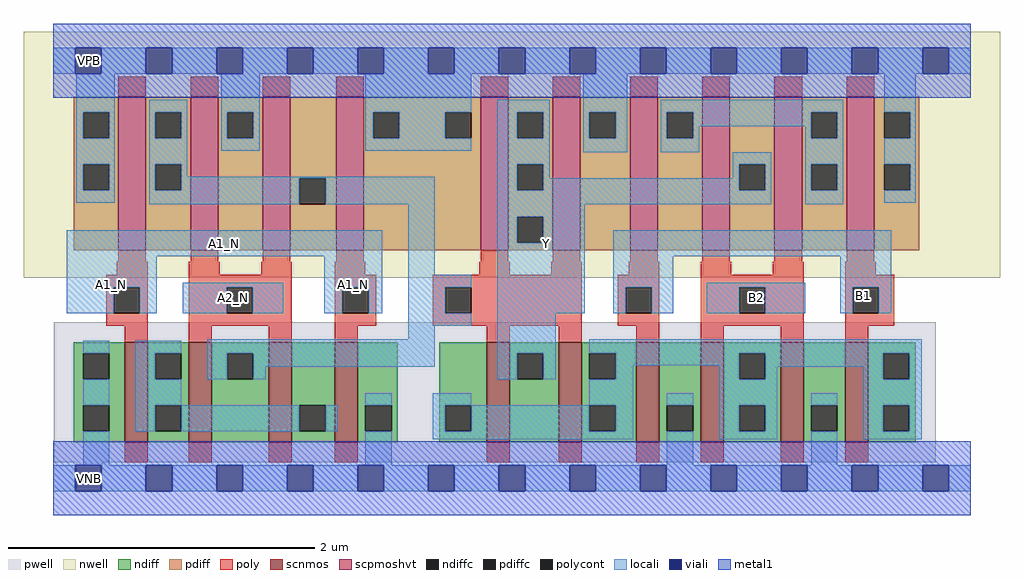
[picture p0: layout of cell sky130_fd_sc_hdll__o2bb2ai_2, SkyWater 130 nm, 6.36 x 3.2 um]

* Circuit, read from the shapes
.subckt sky130_fd_sc_hdll__o2bb2ai_2 A1_N A2_N B1 B2 VGND VNB VPB VPWR Y
XM1 n1 A1_N VGND VNB sky130_fd_pr__nfet_01v8 w=0.65 l=0.15 m=2
XM2 n2 A2_N n1 VNB sky130_fd_pr__nfet_01v8 w=0.65 l=0.15 m=2
XM3 Y n2 n3 VNB sky130_fd_pr__nfet_01v8 w=0.65 l=0.15 m=2
XM4 VGND B1 n3 VNB sky130_fd_pr__nfet_01v8 w=0.65 l=0.15 m=2
XM5 n3 B2 VGND VNB sky130_fd_pr__nfet_01v8 w=0.65 l=0.15 m=2
XM6 n2 A1_N VPWR VPB sky130_fd_pr__pfet_01v8_hvt w=1 l=0.18 m=2
XM7 VPWR A2_N n2 VPB sky130_fd_pr__pfet_01v8_hvt w=1 l=0.18 m=2
XM8 Y n2 VPWR VPB sky130_fd_pr__pfet_01v8_hvt w=1 l=0.18 m=2
XM9 n4 B1 VPWR VPB sky130_fd_pr__pfet_01v8_hvt w=1 l=0.18 m=2
XM10 Y B2 n4 VPB sky130_fd_pr__pfet_01v8_hvt w=1 l=0.18 m=2
.ends

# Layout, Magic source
magic
tech sky130A
magscale 1 2
<< nwell >>
rect -38 261 1234 582
<< pwell >>
rect 1 21 1150 203
rect 30 -17 64 21
<< scnmos >>
rect 93 47 123 177
rect 177 47 207 177
rect 281 47 311 177
rect 367 47 397 177
rect 565 47 595 177
rect 659 47 689 177
rect 760 47 790 177
rect 844 47 874 177
rect 948 47 978 177
rect 1032 47 1062 177
<< scpmoshvt >>
rect 85 297 121 497
rect 179 297 215 497
rect 273 297 309 497
rect 369 297 405 497
rect 557 297 593 497
rect 651 297 687 497
rect 752 297 788 497
rect 846 297 882 497
rect 940 297 976 497
rect 1034 297 1070 497
<< ndiff >>
rect 27 163 93 177
rect 27 129 39 163
rect 73 129 93 163
rect 27 95 93 129
rect 27 61 39 95
rect 73 61 93 95
rect 27 47 93 61
rect 123 163 177 177
rect 123 129 133 163
rect 167 129 177 163
rect 123 95 177 129
rect 123 61 133 95
rect 167 61 177 95
rect 123 47 177 61
rect 207 163 281 177
rect 207 129 227 163
rect 261 129 281 163
rect 207 47 281 129
rect 311 95 367 177
rect 311 61 321 95
rect 355 61 367 95
rect 311 47 367 61
rect 397 95 449 177
rect 397 61 407 95
rect 441 61 449 95
rect 397 47 449 61
rect 503 95 565 177
rect 503 61 511 95
rect 545 61 565 95
rect 503 47 565 61
rect 595 163 659 177
rect 595 129 605 163
rect 639 129 659 163
rect 595 47 659 129
rect 689 163 760 177
rect 689 129 699 163
rect 733 129 760 163
rect 689 95 760 129
rect 689 61 699 95
rect 733 61 760 95
rect 689 47 760 61
rect 790 95 844 177
rect 790 61 800 95
rect 834 61 844 95
rect 790 47 844 61
rect 874 163 948 177
rect 874 129 894 163
rect 928 129 948 163
rect 874 95 948 129
rect 874 61 894 95
rect 928 61 948 95
rect 874 47 948 61
rect 978 95 1032 177
rect 978 61 988 95
rect 1022 61 1032 95
rect 978 47 1032 61
rect 1062 163 1124 177
rect 1062 129 1082 163
rect 1116 129 1124 163
rect 1062 95 1124 129
rect 1062 61 1082 95
rect 1116 61 1124 95
rect 1062 47 1124 61
<< pdiff >>
rect 27 477 85 497
rect 27 443 39 477
rect 73 443 85 477
rect 27 409 85 443
rect 27 375 39 409
rect 73 375 85 409
rect 27 297 85 375
rect 121 477 179 497
rect 121 443 133 477
rect 167 443 179 477
rect 121 409 179 443
rect 121 375 133 409
rect 167 375 179 409
rect 121 297 179 375
rect 215 477 273 497
rect 215 443 227 477
rect 261 443 273 477
rect 215 297 273 443
rect 309 391 369 497
rect 309 357 321 391
rect 355 357 369 391
rect 309 297 369 357
rect 405 477 557 497
rect 405 443 417 477
rect 451 443 511 477
rect 545 443 557 477
rect 405 297 557 443
rect 593 477 651 497
rect 593 443 605 477
rect 639 443 651 477
rect 593 409 651 443
rect 593 375 605 409
rect 639 375 651 409
rect 593 341 651 375
rect 593 307 605 341
rect 639 307 651 341
rect 593 297 651 307
rect 687 477 752 497
rect 687 443 699 477
rect 733 443 752 477
rect 687 297 752 443
rect 788 477 846 497
rect 788 443 800 477
rect 834 443 846 477
rect 788 297 846 443
rect 882 409 940 497
rect 882 375 894 409
rect 928 375 940 409
rect 882 297 940 375
rect 976 477 1034 497
rect 976 443 988 477
rect 1022 443 1034 477
rect 976 409 1034 443
rect 976 375 988 409
rect 1022 375 1034 409
rect 976 297 1034 375
rect 1070 477 1129 497
rect 1070 443 1083 477
rect 1117 443 1129 477
rect 1070 409 1129 443
rect 1070 375 1083 409
rect 1117 375 1129 409
rect 1070 297 1129 375
<< ndiffc >>
rect 39 129 73 163
rect 39 61 73 95
rect 133 129 167 163
rect 133 61 167 95
rect 227 129 261 163
rect 321 61 355 95
rect 407 61 441 95
rect 511 61 545 95
rect 605 129 639 163
rect 699 129 733 163
rect 699 61 733 95
rect 800 61 834 95
rect 894 129 928 163
rect 894 61 928 95
rect 988 61 1022 95
rect 1082 129 1116 163
rect 1082 61 1116 95
<< pdiffc >>
rect 39 443 73 477
rect 39 375 73 409
rect 133 443 167 477
rect 133 375 167 409
rect 227 443 261 477
rect 321 357 355 391
rect 417 443 451 477
rect 511 443 545 477
rect 605 443 639 477
rect 605 375 639 409
rect 605 307 639 341
rect 699 443 733 477
rect 800 443 834 477
rect 894 375 928 409
rect 988 443 1022 477
rect 988 375 1022 409
rect 1083 443 1117 477
rect 1083 375 1117 409
<< poly >>
rect 85 497 121 523
rect 179 497 215 523
rect 273 497 309 523
rect 369 497 405 523
rect 557 497 593 523
rect 651 497 687 523
rect 752 497 788 523
rect 846 497 882 523
rect 940 497 976 523
rect 1034 497 1070 523
rect 85 282 121 297
rect 179 282 215 297
rect 273 282 309 297
rect 369 282 405 297
rect 557 282 593 297
rect 651 282 687 297
rect 752 282 788 297
rect 846 282 882 297
rect 940 282 976 297
rect 1034 282 1070 297
rect 83 265 123 282
rect 69 249 123 265
rect 69 215 79 249
rect 113 215 123 249
rect 69 199 123 215
rect 93 177 123 199
rect 177 265 217 282
rect 271 265 311 282
rect 177 249 311 265
rect 177 215 226 249
rect 260 215 311 249
rect 177 199 311 215
rect 177 177 207 199
rect 281 177 311 199
rect 367 265 407 282
rect 555 265 595 282
rect 649 265 689 282
rect 750 265 790 282
rect 367 249 421 265
rect 367 215 377 249
rect 411 215 421 249
rect 367 199 421 215
rect 495 249 689 265
rect 495 215 511 249
rect 545 215 689 249
rect 495 199 689 215
rect 736 249 790 265
rect 736 215 746 249
rect 780 215 790 249
rect 736 199 790 215
rect 367 177 397 199
rect 565 177 595 199
rect 659 177 689 199
rect 760 177 790 199
rect 844 265 884 282
rect 938 265 978 282
rect 844 249 978 265
rect 844 215 894 249
rect 928 215 978 249
rect 844 199 978 215
rect 844 177 874 199
rect 948 177 978 199
rect 1032 265 1072 282
rect 1032 249 1096 265
rect 1032 215 1042 249
rect 1076 215 1096 249
rect 1032 199 1096 215
rect 1032 177 1062 199
rect 93 21 123 47
rect 177 21 207 47
rect 281 21 311 47
rect 367 21 397 47
rect 565 21 595 47
rect 659 21 689 47
rect 760 21 790 47
rect 844 21 874 47
rect 948 21 978 47
rect 1032 21 1062 47
<< polycont >>
rect 79 215 113 249
rect 226 215 260 249
rect 377 215 411 249
rect 511 215 545 249
rect 746 215 780 249
rect 894 215 928 249
rect 1042 215 1076 249
<< locali >>
rect 0 527 29 561
rect 63 527 121 561
rect 155 527 213 561
rect 247 527 305 561
rect 339 527 397 561
rect 431 527 489 561
rect 523 527 581 561
rect 615 527 673 561
rect 707 527 765 561
rect 799 527 857 561
rect 891 527 949 561
rect 983 527 1041 561
rect 1075 527 1133 561
rect 1167 527 1196 561
rect 30 477 80 527
rect 30 443 39 477
rect 73 443 80 477
rect 30 409 80 443
rect 30 375 39 409
rect 73 375 80 409
rect 30 359 80 375
rect 125 477 175 493
rect 125 443 133 477
rect 167 443 175 477
rect 125 409 175 443
rect 219 477 269 527
rect 219 443 227 477
rect 261 443 269 477
rect 219 427 269 443
rect 407 477 545 527
rect 407 443 417 477
rect 451 443 511 477
rect 407 427 545 443
rect 579 477 647 493
rect 579 443 605 477
rect 639 443 647 477
rect 125 375 133 409
rect 167 393 175 409
rect 579 409 647 443
rect 691 477 748 527
rect 691 443 699 477
rect 733 443 748 477
rect 691 425 748 443
rect 792 477 1030 493
rect 792 443 800 477
rect 834 459 988 477
rect 834 443 842 459
rect 792 425 842 443
rect 980 443 988 459
rect 1022 443 1030 477
rect 167 391 497 393
rect 167 375 321 391
rect 125 357 321 375
rect 355 357 497 391
rect 18 289 429 323
rect 18 249 135 289
rect 18 215 79 249
rect 113 215 135 249
rect 169 249 300 255
rect 169 215 226 249
rect 260 215 300 249
rect 353 249 429 289
rect 353 215 377 249
rect 411 215 429 249
rect 463 265 497 357
rect 579 375 605 409
rect 639 391 647 409
rect 886 409 936 425
rect 886 391 894 409
rect 639 375 894 391
rect 928 375 936 409
rect 579 357 936 375
rect 980 409 1030 443
rect 980 375 988 409
rect 1022 375 1030 409
rect 980 357 1030 375
rect 1083 477 1124 527
rect 1117 443 1124 477
rect 1083 409 1124 443
rect 1117 375 1124 409
rect 1083 359 1124 375
rect 579 341 693 357
rect 579 307 605 341
rect 639 307 693 341
rect 463 249 545 265
rect 463 215 511 249
rect 463 199 545 215
rect 579 215 693 307
rect 730 289 1092 323
rect 730 249 808 289
rect 730 215 746 249
rect 780 215 808 249
rect 852 249 980 255
rect 852 215 894 249
rect 928 215 980 249
rect 1026 249 1092 289
rect 1026 215 1042 249
rect 1076 215 1092 249
rect 463 181 497 199
rect 39 163 73 179
rect 39 95 73 129
rect 107 163 167 179
rect 107 129 133 163
rect 201 163 497 181
rect 201 129 227 163
rect 261 145 497 163
rect 579 163 655 215
rect 261 129 277 145
rect 579 129 605 163
rect 639 129 655 163
rect 699 163 1132 181
rect 733 147 894 163
rect 733 129 756 147
rect 107 95 167 129
rect 407 95 441 111
rect 107 61 133 95
rect 167 61 321 95
rect 355 61 371 95
rect 39 17 73 61
rect 407 17 441 61
rect 495 95 545 111
rect 699 95 756 129
rect 868 129 894 147
rect 928 145 1082 163
rect 928 129 944 145
rect 495 61 511 95
rect 545 61 699 95
rect 733 61 756 95
rect 495 51 756 61
rect 800 95 834 111
rect 800 17 834 61
rect 868 95 944 129
rect 1056 129 1082 145
rect 1116 129 1132 163
rect 868 61 894 95
rect 928 61 944 95
rect 868 51 944 61
rect 988 95 1022 111
rect 988 17 1022 61
rect 1056 95 1132 129
rect 1056 61 1082 95
rect 1116 61 1132 95
rect 1056 51 1132 61
rect 0 -17 29 17
rect 63 -17 121 17
rect 155 -17 213 17
rect 247 -17 305 17
rect 339 -17 397 17
rect 431 -17 489 17
rect 523 -17 581 17
rect 615 -17 673 17
rect 707 -17 765 17
rect 799 -17 857 17
rect 891 -17 949 17
rect 983 -17 1041 17
rect 1075 -17 1133 17
rect 1167 -17 1196 17
<< viali >>
rect 29 527 63 561
rect 121 527 155 561
rect 213 527 247 561
rect 305 527 339 561
rect 397 527 431 561
rect 489 527 523 561
rect 581 527 615 561
rect 673 527 707 561
rect 765 527 799 561
rect 857 527 891 561
rect 949 527 983 561
rect 1041 527 1075 561
rect 1133 527 1167 561
rect 29 -17 63 17
rect 121 -17 155 17
rect 213 -17 247 17
rect 305 -17 339 17
rect 397 -17 431 17
rect 489 -17 523 17
rect 581 -17 615 17
rect 673 -17 707 17
rect 765 -17 799 17
rect 857 -17 891 17
rect 949 -17 983 17
rect 1041 -17 1075 17
rect 1133 -17 1167 17
<< metal1 >>
rect 0 561 1196 592
rect 0 527 29 561
rect 63 527 121 561
rect 155 527 213 561
rect 247 527 305 561
rect 339 527 397 561
rect 431 527 489 561
rect 523 527 581 561
rect 615 527 673 561
rect 707 527 765 561
rect 799 527 857 561
rect 891 527 949 561
rect 983 527 1041 561
rect 1075 527 1133 561
rect 1167 527 1196 561
rect 0 496 1196 527
rect 0 17 1196 48
rect 0 -17 29 17
rect 63 -17 121 17
rect 155 -17 213 17
rect 247 -17 305 17
rect 339 -17 397 17
rect 431 -17 489 17
rect 523 -17 581 17
rect 615 -17 673 17
rect 707 -17 765 17
rect 799 -17 857 17
rect 891 -17 949 17
rect 983 -17 1041 17
rect 1075 -17 1133 17
rect 1167 -17 1196 17
rect 0 -48 1196 -17
<< labels >>
flabel locali s 852 215 980 255 0 FreeSans 400 180 0 0 B2
port 4 nsew signal input
flabel locali s 626 289 660 323 0 FreeSans 400 0 0 0 Y
port 9 nsew signal output
flabel locali s 353 215 429 289 0 FreeSans 400 0 0 0 A1_N
port 1 nsew signal input
flabel locali s 169 215 300 255 0 FreeSans 400 0 0 0 A2_N
port 2 nsew signal input
flabel locali s 1039 221 1073 255 0 FreeSans 400 180 0 0 B1
port 3 nsew signal input
flabel pwell s 30 -17 64 17 0 FreeSans 200 0 0 0 VNB
port 6 nsew ground bidirectional
flabel nwell s 30 527 64 561 0 FreeSans 200 0 0 0 VPB
port 7 nsew power bidirectional
flabel metal1 s 30 -17 64 17 0 FreeSans 200 0 0 0 VGND
port 5 nsew ground bidirectional
flabel metal1 s 30 527 64 561 0 FreeSans 200 0 0 0 VPWR
port 8 nsew power bidirectional
rlabel comment s 0 0 0 0 4 o2bb2ai_2
rlabel locali s 18 289 429 323 1 A1_N
port 1 nsew signal input
rlabel locali s 18 215 135 289 1 A1_N
port 1 nsew signal input
<< properties >>
string LEFsite unithd
string LEFclass CORE
string FIXED_BBOX 0 0 1196 544
string GDS_FILE $PDKPATH/libs.ref/sky130_fd_sc_hdll/gds/sky130_fd_sc_hdll.gds
string LEFsymmetry X Y R90
string GDS_END 2574936
string GDS_START 2566086
string LEFproperties maskLayoutSubType "abstract" prCellType "standard" originalViewName "layout"
<< end >>
